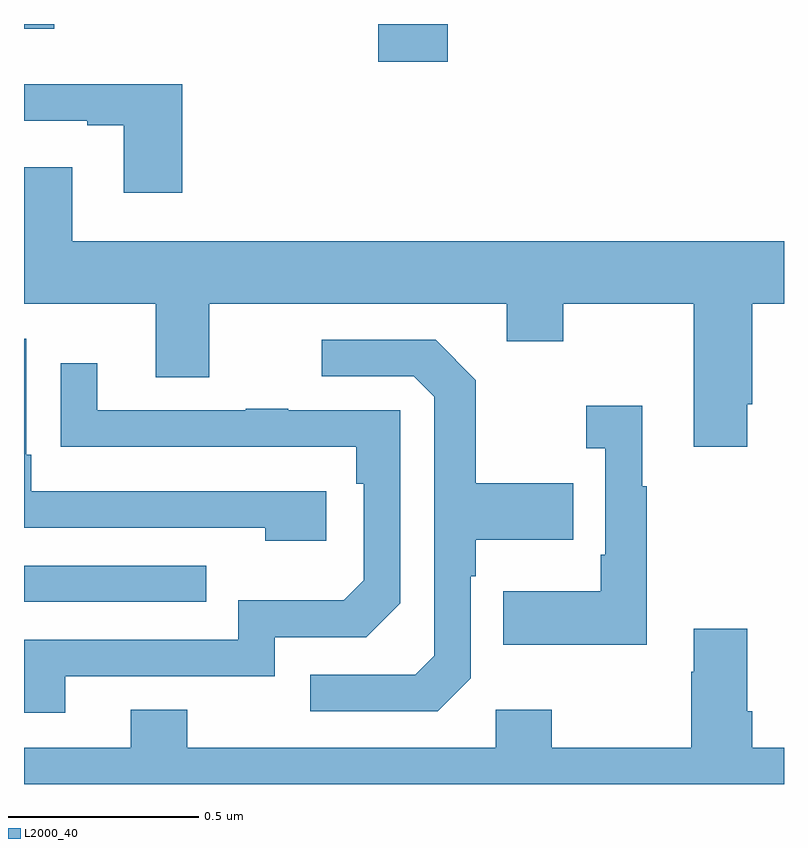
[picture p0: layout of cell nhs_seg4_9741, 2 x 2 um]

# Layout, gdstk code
import gdstk
lib = gdstk.Library(unit=1e-6, precision=1e-09)
def R(c, l, rs):  # rectangles x0, y0, x1, y1
    for r in rs: c.add(gdstk.rectangle(r[:2], r[2:], *l))
def P(c, l, *ps):  # polygons
    for p in ps: c.add(gdstk.Polygon(p, *l))
L2000_40 = (2000, 40)

nhs_seg4_9741 = lib.new_cell('nhs_seg4_9741')
R(nhs_seg4_9741, L2000_40, [(231,785.379,231.479,785.475), (231.932,786.801,232.115,786.9), (231,786.888,231.079,786.9)])
P(nhs_seg4_9741, L2000_40, [(231.416,786.742),(231,786.742),(231,786.645),(231.167,786.645),(231.167,786.633),(231.263,786.633),(231.263,786.456),(231.416,786.456)],
  [(232.903,785.899),(232.916,785.899),(232.916,786.164),(233,786.164),(233,786.328),(231.127,786.328),(231.127,786.523),(231,786.523),(231,786.164),(231.347,786.164),(231.347,785.97),(231.487,785.97),(231.487,786.164),(232.271,786.164),(232.271,786.065),(232.419,786.065),(232.419,786.164),(232.763,786.164),(232.763,785.787),(232.903,785.787)],
  [(231.796,785.67),(231.019,785.67),(231.019,785.767),(231.006,785.767),(231.006,786.072),(231,786.072),(231,785.574),(231.635,785.574),(231.635,785.54),(231.796,785.54)],
  [(232.176,785.178),(232.176,785.447),(232.189,785.447),(232.189,785.543),(232.445,785.543),(232.445,785.691),(232.189,785.691),(232.189,785.963),(232.083,786.069),(231.783,786.069),(231.783,785.973),(232.026,785.973),(232.08,785.919),(232.08,785.238),(232.029,785.187),(231.753,785.187),(231.753,785.091),(232.089,785.091)],
  [(231.109,785.184),(231.66,785.184),(231.66,785.286),(231.9,785.286),(231.99,785.376),(231.99,785.883),(231.695,785.883),(231.695,785.888),(231.583,785.888),(231.583,785.883),(231.193,785.883),(231.193,786.007),(231.097,786.007),(231.097,785.788),(231.199,785.788),(231.199,785.787),(231.874,785.787),(231.874,785.69),(231.894,785.69),(231.894,785.436),(231.841,785.383),(231.564,785.383),(231.564,785.28),(231,785.28),(231,785.088),(231.109,785.088)],
  [(232.639,785.683),(232.627,785.683),(232.627,785.896),(232.479,785.896),(232.479,785.783),(232.53,785.783),(232.53,785.503),(232.518,785.503),(232.518,785.407),(232.261,785.407),(232.261,785.267),(232.639,785.267)],
  [(233,784.996),(232.916,784.996),(232.916,785.092),(232.903,785.092),(232.903,785.308),(232.763,785.308),(232.763,785.195),(232.756,785.195),(232.756,784.996),(232.389,784.996),(232.389,785.095),(232.242,785.095),(232.242,784.996),(231.429,784.996),(231.429,785.095),(231.281,785.095),(231.281,784.996),(231,784.996),(231,784.9),(233,784.9)])

lib.write_gds('nhs_seg4_9741.gds')
